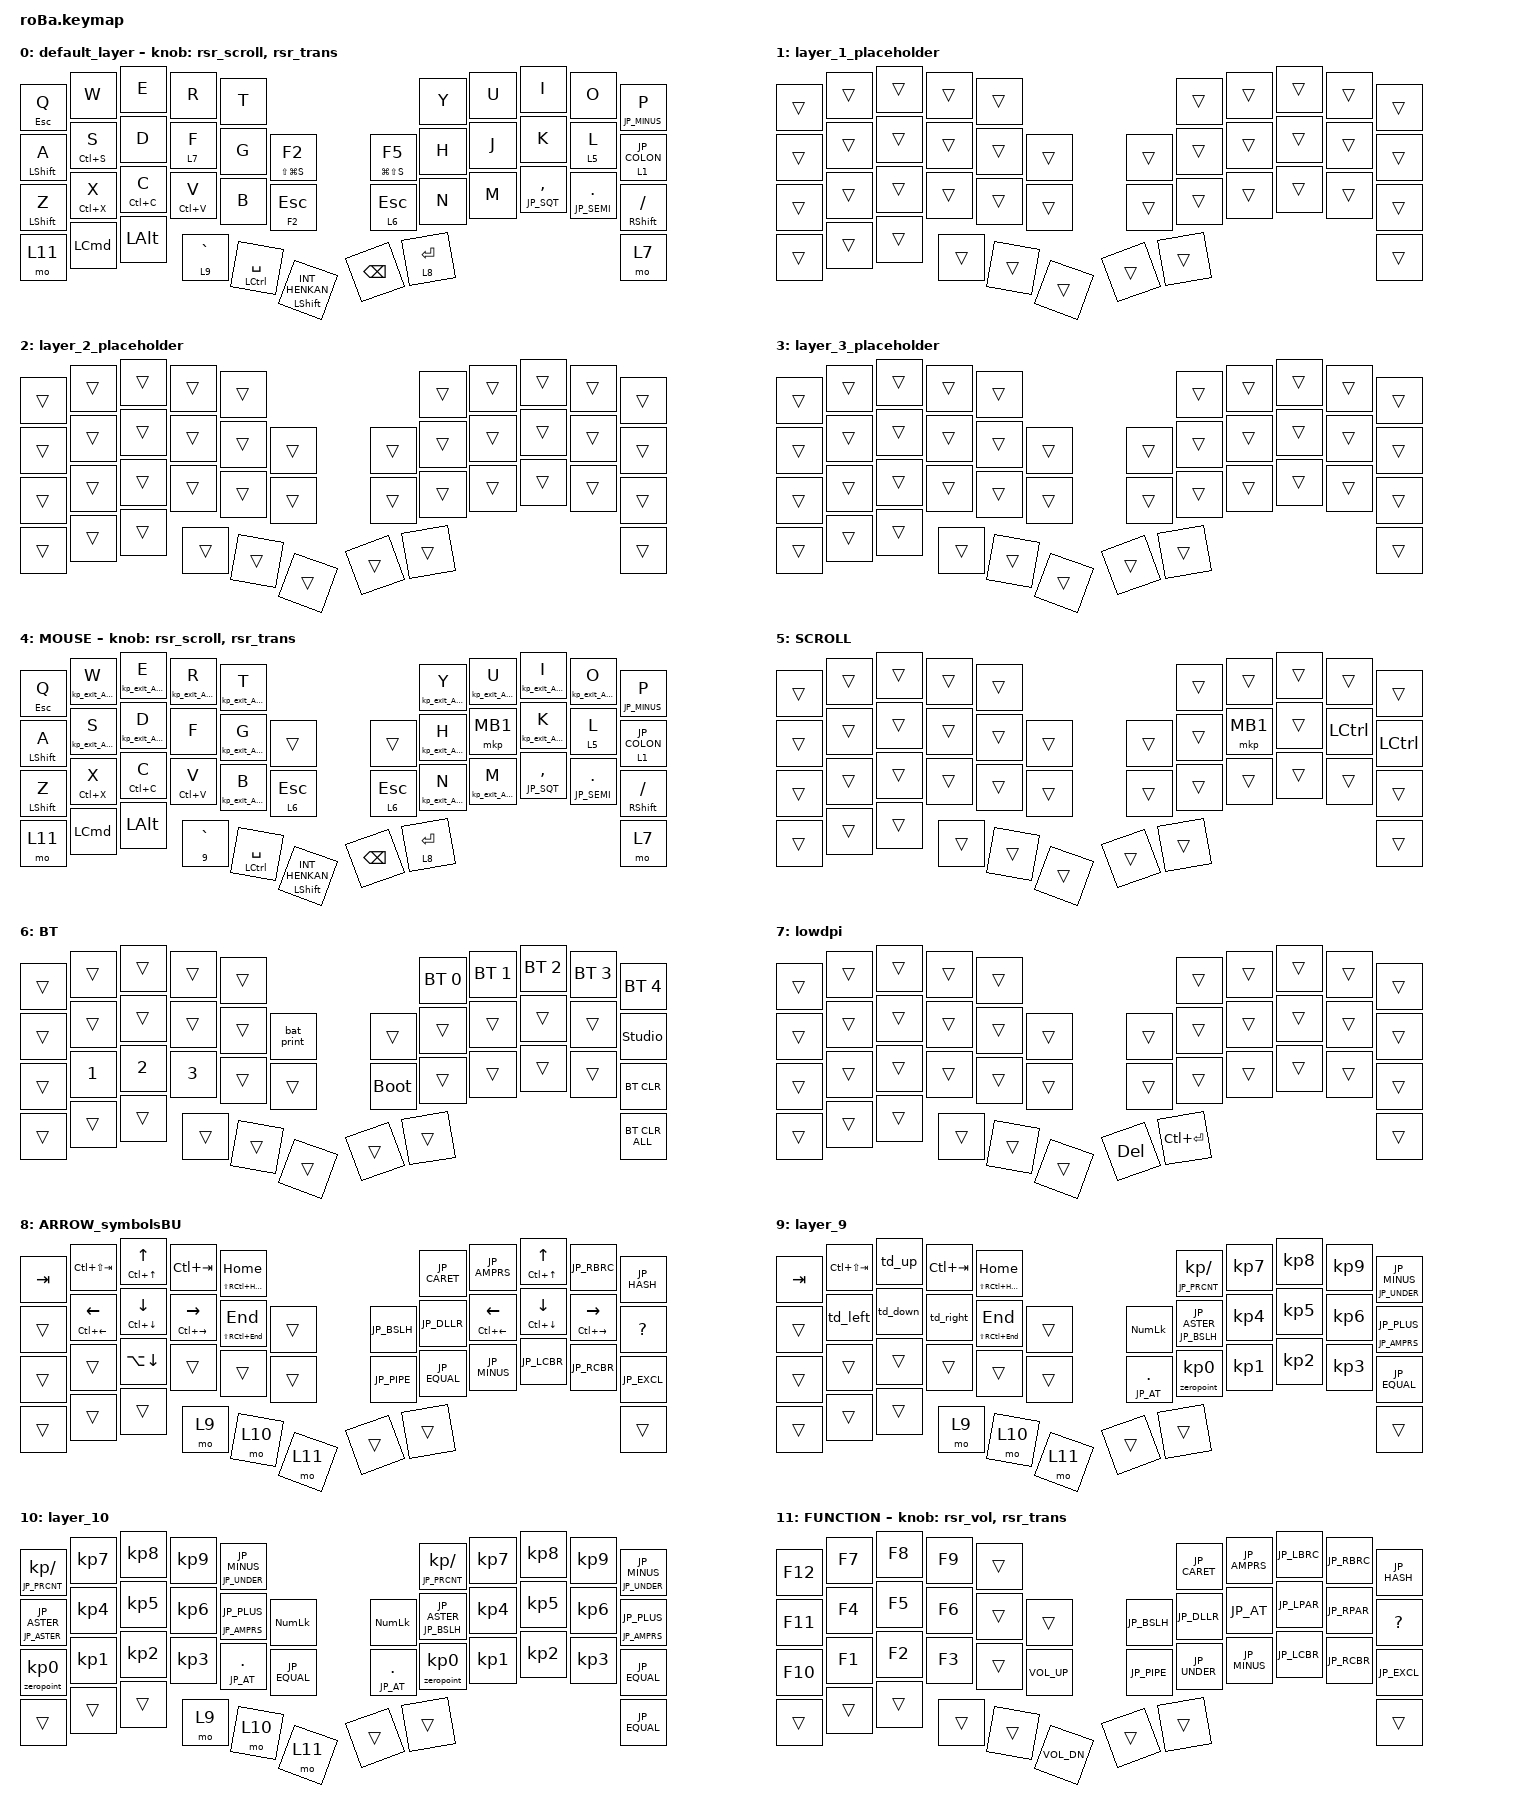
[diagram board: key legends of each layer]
#include <input/processors.dtsi>
#include <dt-bindings/zmk/input_transform.h>
#include <behaviors/bat_print.dtsi>

#define JP_EXCL   (LS(NUMBER_1))
#define JP_DQT    (LS(NUMBER_2))
#define JP_HASH   (LS(NUMBER_3))
#define JP_DLLR   (LS(NUMBER_4))
#define JP_PRCNT  (LS(NUMBER_5))
#define JP_AMPRS  (LS(NUMBER_6))
#define JP_SQT    (LS(NUMBER_7))
#define JP_LPAR   (LS(NUMBER_8))
#define JP_RPAR   (LS(NUMBER_9))
#define JP_EQUAL  (LS(MINUS))
#define JP_MINUS  (MINUS)
#define JP_CARET  (EQUAL)
#define JP_TILDE  (LS(EQUAL))
#define JP_YEN    (INTERNATIONAL_3)
#define JP_PIPE   (LS(INTERNATIONAL_3))
#define JP_AT     (LEFT_BRACKET)
#define JP_GRAVE  (LS(LEFT_BRACKET))
#define JP_LBRC   (RIGHT_BRACKET)
#define JP_LCBR   (LS(RIGHT_BRACKET))
#define JP_RBRC   (NON_US_HASH)
#define JP_RCBR   (LS(NON_US_HASH))
#define JP_SEMI   (SEMICOLON)
#define JP_PLUS   (LS(SEMICOLON))
#define JP_COLON  (SQT)
#define JP_ASTER  (LS(SQT))
#define JP_BSLH   (INTERNATIONAL_1)
#define JP_UNDER  (LS(INTERNATIONAL_1))

#include <behaviors.dtsi>
#include <dt-bindings/zmk/bt.h>
#include <dt-bindings/zmk/keys.h>
#include <dt-bindings/zmk/pointing.h>
#include "gesture/gesture_L2.dtsi"
#include "gesture/gesture_L3.dtsi"
#include "gesture/gesture_L7.dtsi"
#include <behaviors/runtime-sensor-rotate.dtsi>
#include <behaviors/runtime_macro.dtsi>

#define ZMK_POINTING

#undef ZMK_POINTING_DEFAULT_MOVE_VAL

#define ZMK_POINTING_DEFAULT_MOVE_VAL 700

#undef ZMK_POINTING_DEFAULT_SCRL_VAL

#define ZMK_POINTING_DEFAULT_SCRL_VAL 40
#define MOUSE 4
#define SCROLL 5
#define NUM 6

&mt {
    flavor = "balanced";
    quick-tap-ms = <0>;
    tapping-term-ms = <300>;
};

//クリックした後ミリ秒後にAMLが解除

&mkp_input_listener { input-processors = <&zip_temp_layer 4 3000000>; };

//キー入力から一定時間はAMLを発動しない

&zip_temp_layer { require-prior-idle-ms = <200>; };

/ {
    layer_listeners {
        compatible = "zmk,layer-listeners";

        layer_10_gesture {
            layers = <10>;
            bindings = <&mouse_gesture_on>, <&mouse_gesture_off>;
        };

        arrow_layer_gesture {
            layers = <9>;  // ARROW_NUMレイヤー（layer 9）
            bindings = <&mouse_gesture_on>, <&l3_exit>;
        };

        mouse_layer_gesture {
            layers = <4>;  // MOUSEレイヤー（layer 4）
            bindings = <&mouse_gesture_on>, <&mouse_gesture_off>;
        };
    };

    combos {
        compatible = "zmk,combos";

        tab {
            bindings = <&kp TAB>;
            key-positions = <0 1>;
        };

        double_quotation {
            bindings = <&kp JP_DQT>;
            key-positions = <20 21>;
        };

        zero1 {
            bindings = <&kp KP_NUMBER_0>;
            key-positions = <30 31 32>;
            layers = <9 10>;
        };

        mb3 {
            bindings = <&mkp MB3>;
            key-positions = <18 19 20>;
            layers = <4>;
        };

        mb5 {
            bindings = <&mkp MB5>;
            key-positions = <6 7>;
            layers = <4>;
        };

        mb4 {
            bindings = <&mkp MB4>;
            key-positions = <30 31>;
            layers = <4>;
        };

        zero2 {
            bindings = <&kp KP_NUMBER_0>;
            key-positions = <18 19 20>;
            layers = <9 10>;
        };

        zero3 {
            bindings = <&kp KP_NUMBER_0>;
            key-positions = <6 7 8>;
            layers = <9 10>;
        };

        bootloader {
            bindings = <&bootloader>;
            key-positions = <27 28>;
        };

        ctrlAltTAB {
            bindings = <&kp LA(LC(TAB))>;
            key-positions = <20 19 18 21>;
        };

        max {
            bindings = <&kp LG(UP_ARROW)>;
            key-positions = <6 7 8>;
            layers = <0 4>;
        };

        minimum {
            bindings = <&kp LG(DOWN)>;
            key-positions = <30 31 32>;
            layers = <0 4>;
        };

        volmute {
            bindings = <&kp C_MUTE>;
            key-positions = <27 39>;
            layers = <1>;
        };

        colon {
            bindings = <&kp JP_COLON>;
            key-positions = <31 30>;
        };

        exclmtn {
            bindings = <&kp JP_EXCL>;
            key-positions = <32 31>;
        };

        mb2 {
            bindings = <&mkp MB2>;
            key-positions = <18 19>;
            layers = <4>;
        };

        kakko {
            bindings = <&parenthesisdoulequote 0 0>;
            key-positions = <20 19>;
        };

        closewin {
            bindings = <&kp LA(F4)>;
            key-positions = <32 31 30 41>;
        };

        reload {
            bindings = <&kp F5>;
            key-positions = <41 6 7 8>;
        };

        reload2 {
            bindings = <&kp F5>;
            key-positions = <41 18 19 20>;
        };

        question {
            bindings = <&kp QUESTION>;
            key-positions = <32 33>;
        };

        // kakko {
        //     bindings = <&parenthesisdoulequote 0 0>;
        //     key-positions = <20 19>;
        // };
    };

    macros {
        mkp_exit_AML: mkp_exit_AML {
            compatible = "zmk,behavior-macro-one-param";
            #binding-cells = <1>;
            bindings =
                <&macro_press>,
                <&macro_param_1to1 &mkp MACRO_PLACEHOLDER>,
                <&macro_pause_for_release>,
                <&macro_release>,
                <&macro_param_1to1 &mkp MACRO_PLACEHOLDER>,
                <&macro_tap>,
                <&sl 4>;

            label = "MKP_EXIT_AML";
        };

        exit_AML: exit_AML {
            compatible = "zmk,behavior-macro";
            wait-ms = <0>;
            tap-ms = <0>;
            #binding-cells = <0>;
            bindings = <&tog_off 4>;
            label = "exit_AML";
        };

        kp_exit_AML: kp_exit_AML {
            compatible = "zmk,behavior-macro-one-param";
            wait-ms = <0>;
            tap-ms = <0>;
            #binding-cells = <1>;
            bindings = <&macro_param_1to1 &kp MACRO_PLACEHOLDER &exit_AML>;
            label = "KP_exit_AML";
        };

        mo_exit_AML: mo_exit_AML {
            compatible = "zmk,behavior-macro-one-param";
            #binding-cells = <1>;
            bindings =
                <&macro_press>,
                <&macro_param_1to1 &mo MACRO_PLACEHOLDER>,
                <&macro_pause_for_release>,
                <&macro_release>,
                <&macro_param_1to1 &mo MACRO_PLACEHOLDER>,
                <&macro_tap>,
                <&exit_AML>;

            label = "MO_exit_AML";
        };

        parenthesisJP: parenthesisJP {
            compatible = "zmk,behavior-macro";
            #binding-cells = <0>;
            bindings = <&kp JP_LPAR &kp JP_RPAR &kp LEFT_ARROW>;
            label = "PARENTHESISJP";
        };

        doubledoublequote: doubledoublecomma {
            compatible = "zmk,behavior-macro";
            #binding-cells = <0>;
            bindings = <&kp JP_DQT &kp JP_DQT &kp LEFT_ARROW>;
            label = "DOUBLEDOUBLECOMMA";
        };

        zeropoint: repoint {
            compatible = "zmk,behavior-macro";
            #binding-cells = <0>;
            bindings = <&kp N0 &kp PERIOD>;
            label = "REPOINT";
        };
    };

    alt_tab: alt_tab {
        compatible = "zmk,behavior-macro";
        #binding-cells = <0>;
        bindings = <&macro_press>, <&kp LALT>, <&macro_tap>, <&kp TAB>;
    };

    alt_shift_tab: alt_shift_tab {
        compatible = "zmk,behavior-macro";
        #binding-cells = <0>;
        bindings = <&macro_press>, <&kp LALT>, <&macro_tap>, <&kp LS(TAB)>;
    };

    release_alt: release_alt {
        compatible = "zmk,behavior-macro";
        #binding-cells = <0>;
        bindings = <&macro_release>, <&kp LALT>;
    };

    l3_exit: l3_exit {
        compatible = "zmk,behavior-macro";
        #binding-cells = <0>;
        bindings = <&mouse_gesture_off &release_alt>;
    };

    behaviors {
        rsr_scroll: rsr_scroll {
            compatible = "zmk,behavior-runtime-sensor-rotate";
            #sensor-binding-cells = <0>;
            tap-ms = <20>;
            cw-binding = <&msc SCRL_DOWN>;
            ccw-binding = <&msc SCRL_UP>;
        };

        rsr_vol: rsr_vol {
            compatible = "zmk,behavior-runtime-sensor-rotate";
            #sensor-binding-cells = <0>;
            tap-ms = <20>;
            cw-binding = <&kp C_VOLUME_DOWN>;
            ccw-binding = <&kp C_VOLUME_UP>;
        };
        
        rsr_trans: rsr_trans {
            compatible = "zmk,behavior-runtime-sensor-rotate";
            #sensor-binding-cells = <0>;
        };

        scroll_up_down: behavior_sensor_rotate_mouse_wheel_up_down {
            compatible = "zmk,behavior-sensor-rotate";
            #sensor-binding-cells = <0>;
            bindings = <&msc SCRL_DOWN>, <&msc SCRL_UP>;

            // 追加: スクロールのタップ時間を設定 (20ms)

            tap-ms = <20>;
        };

        rot_tab_macro: rot_tab_macro {
            compatible = "zmk,behavior-sensor-rotate";
            #sensor-binding-cells = <0>;
            bindings = <&alt_tab>, <&alt_shift_tab>;

            // これにより、回した瞬間にAltがロックされ、
            // 物理的にレイヤーキーを離すとAltが解除される仕組みが必要です
        };

        tog_off: toggle_layer_off {
            compatible = "zmk,behavior-toggle-layer";
            #binding-cells = <1>;
            display-name = "Toggle Layer Off";
            toggle-mode = "off";
        };

        mt_exit_AML_on_tap: mt_exit_AML_on_tap {
            compatible = "zmk,behavior-hold-tap";
            label = "MT_exit_AML_ON_TAP";
            bindings = <&kp>, <&kp_exit_AML>;

            #binding-cells = <2>;
            tapping-term-ms = <200>;
            flavor = "balanced";
            quick-tap-ms = <0>;
        };

        lt_exit_AML: lt_exit_AML {
            compatible = "zmk,behavior-hold-tap";
            label = "LT_exit_AML";
            bindings = <&mo_exit_AML>, <&kp_exit_AML>;

            #binding-cells = <2>;
            tapping-term-ms = <200>;
            quick-tap-ms = <200>;
            flavor = "balanced";
        };

        lt_exit_AML_on_hold: lt_exit_AML_on_hold {
            compatible = "zmk,behavior-hold-tap";
            label = "LT_exit_AML_ON_HOLD";
            bindings = <&mo_exit_AML>, <&kp>;

            #binding-cells = <2>;
            tapping-term-ms = <200>;
            quick-tap-ms = <200>;
            flavor = "balanced";
        };

        // JとK専用の特別な判定

        jk_click: jk_click {
            compatible = "zmk,behavior-hold-tap";
            label = "JK_CLICK";
            #binding-cells = <2>;

            // 1. 判定時間を少し短くして、文字入力への復帰を早める

            tapping-term-ms = <150>;

            // 2. ダブルクリックを可能にする（超重要）
            // 前回クリックしてから150ms以内に叩けば、判定を飛ばして即クリックする

            quick-tap-ms = <150>;

            // 3. flavor を「hold-preferred」に変更
            // これにより、押した瞬間に「他のキーが押されれば」即クリック、
            // 何もなくても150ms経てば即クリックになります。

            flavor = "hold-preferred";
            bindings = <&mkp>, <&kp_exit_AML>;
        };

        lt_exit_l4: lt_exit_l4 {
            compatible = "zmk,behavior-hold-tap";
            label = "LT_EXIT_L4";
            #binding-cells = <2>;
            tapping-term-ms = <100>;
            flavor = "hold-preferred";

            // カンマなし。&mo と &tog_off を並べるだけ。

            bindings = <&mo>, <&tog_off>;
        };

        // A/Z用シフト: 素早い打鍵での誤判定を防ぐ

        hold_pref_shift: hold_pref_shift {
            compatible = "zmk,behavior-hold-tap";
            label = "HOLD_PREF_SHIFT";
            #binding-cells = <2>;
            tapping-term-ms = <300>;
            flavor = "tap-preferred";
            quick-tap-ms = <200>;
            bindings = <&kp>, <&kp>;
        };

        mtzeropoint: mtzeropoint {
            compatible = "zmk,behavior-hold-tap";
            label = "MTZEROPOINT";
            #binding-cells = <2>;
            tapping-term-ms = <400>;
            flavor = "balanced";
            quick-tap-ms = <200>;
            bindings = <&zeropoint>, <&kp>;
        };

        parenthesisdoulequote: parenthesisdoulequote {
            compatible = "zmk,behavior-hold-tap";
            label = "PARENTHESISDOULEQUOTE";
            #binding-cells = <2>;
            tapping-term-ms = <400>;
            flavor = "balanced";
            quick-tap-ms = <200>;
            bindings = <&doubledoublequote>, <&parenthesisJP>;
        };

        /* 1回目のタップ用: 単押し=そのまま / 長押し=Ctrl+キー */

        ht_arrow_1: ht_arrow_1 {
            compatible = "zmk,behavior-hold-tap";
            label = "HT_ARROW_1";
            #binding-cells = <2>;
            flavor = "tap-preferred";
            tapping-term-ms = <200>;
            quick-tap-ms = <150>;
            bindings = <&kp>, <&kp>;
        };

        /* 2回目のタップ用: 単押し=なし / 長押し=Ctrl+Shift+キー */

        ht_arrow_2: ht_arrow_2 {
            compatible = "zmk,behavior-hold-tap";
            label = "HT_ARROW_2";
            #binding-cells = <2>;
            flavor = "tap-preferred";
            tapping-term-ms = <200>;
            quick-tap-ms = <150>;
            bindings = <&kp>, <&kp>;
        };

        td_up: td_up {
            compatible = "zmk,behavior-tap-dance";
            label = "TD_UP";
            #binding-cells = <0>;
            tapping-term-ms = <150>;
            bindings =
                <&ht_arrow_1 LC(UP_ARROW) UP_ARROW>,
                <&ht_arrow_2 LC(LS(UP_ARROW)) UP_ARROW>;
        };

        td_down: td_down {
            compatible = "zmk,behavior-tap-dance";
            label = "TD_DOWN";
            #binding-cells = <0>;
            tapping-term-ms = <150>;
            bindings =
                <&ht_arrow_1 LC(DOWN_ARROW) DOWN_ARROW>,
                <&ht_arrow_2 LC(LS(DOWN_ARROW)) DOWN_ARROW>;
        };

        td_left: td_left {
            compatible = "zmk,behavior-tap-dance";
            label = "TD_LEFT";
            #binding-cells = <0>;
            tapping-term-ms = <150>;
            bindings =
                <&ht_arrow_1 LC(LEFT_ARROW) LEFT_ARROW>,
                <&ht_arrow_2 LC(LS(LEFT_ARROW)) LEFT_ARROW>;
        };

        td_right: td_right {
            compatible = "zmk,behavior-tap-dance";
            label = "TD_RIGHT";
            #binding-cells = <0>;
            tapping-term-ms = <150>;
            bindings =
                <&ht_arrow_1 LC(RIGHT_ARROW) RIGHT_ARROW>,
                <&ht_arrow_2 LC(LS(RIGHT_ARROW)) RIGHT_ARROW>;
        };

        ht_layer_none: ht_layer_none {
            compatible = "zmk,behavior-hold-tap";
            label = "HT_LAYER_NONE";
            #binding-cells = <2>;
            flavor = "hold-preferred";
            tapping-term-ms = <200>;
            bindings = <&mo>, <&none>;
        };

        ht_key_none: ht_key_none {
            compatible = "zmk,behavior-hold-tap";
            label = "HT_KEY_NONE";
            #binding-cells = <2>;
            flavor = "hold-preferred";
            tapping-term-ms = <200>;
            bindings = <&kp>, <&none>;
        };

        ht_tp_qmark: ht_tp_qmark {
            compatible = "zmk,behavior-hold-tap";
            label = "HT_TP_QMARK";
            #binding-cells = <2>;
            flavor = "tap-preferred";
            tapping-term-ms = <200>;
            bindings = <&kp>, <&kp>;
        };

        td_mo7: td_mo7 {
            compatible = "zmk,behavior-tap-dance";
            label = "TD_MO7";
            #binding-cells = <0>;
            tapping-term-ms = <150>;
            bindings = <&ht_layer_none 7 0>, <&ht_key_none RIGHT_CONTROL 0>;
        };

        td_qmark_l0: td_qmark_l0 {
            compatible = "zmk,behavior-tap-dance";
            label = "TD_QMARK_L0";
            #binding-cells = <0>;
            tapping-term-ms = <200>;
            bindings =
                <&ht_tp_qmark RIGHT_SHIFT SLASH>,
                <&ht_tp_qmark RIGHT_SHIFT JP_EXCL>;
        };

        td_qmark_l4: td_qmark_l4 {
            compatible = "zmk,behavior-tap-dance";
            label = "TD_QMARK_L4";
            #binding-cells = <0>;
            tapping-term-ms = <200>;
            bindings =
                <&mt_exit_AML_on_tap RIGHT_SHIFT SLASH>,
                <&mt_exit_AML_on_tap RIGHT_SHIFT JP_EXCL>;
        };
    };

    keymap {
        compatible = "zmk,keymap";

        default_layer {
            bindings = <
&mt ESCAPE Q                   &kp W                     &kp E         &kp R        &kp T                                                                                    &kp Y        &kp U  &kp I             &kp O            &mt JP_MINUS P
&hold_pref_shift LEFT_SHIFT A  &hold_pref_shift LC(S) S  &kp D         &lt 7 F      &kp G                   &mt LS(LG(S)) F2                               &mt LG(LS(S)) F5  &kp H        &kp J  &kp K             &lt 5 L          &lt 1 JP_COLON
&hold_pref_shift LEFT_SHIFT Z  &mt LC(X) X               &mt LC(C) C   &mt LC(V) V  &kp B                   &mt F2 ESCAPE                                  &lt 6 ESC         &kp N        &kp M  &mt JP_SQT COMMA  &mt JP_SEMI DOT  &hold_pref_shift RIGHT_SHIFT SLASH
&mo 11                         &kp LEFT_COMMAND          &kp LEFT_ALT  &lt 9 GRAVE  &mt LEFT_CONTROL SPACE  &mt_exit_AML_on_tap LEFT_SHIFT INT_HENKAN      &kp BACKSPACE     &lt 8 ENTER                                            &mo 7
            >;

            sensor-bindings = <&rsr_scroll &rsr_trans>;
        };

        layer_1_placeholder {
            bindings = <
&trans  &trans  &trans  &trans  &trans                      &trans  &trans  &trans  &trans  &trans
&trans  &trans  &trans  &trans  &trans  &trans      &trans  &trans  &trans  &trans  &trans  &trans
&trans  &trans  &trans  &trans  &trans  &trans      &trans  &trans  &trans  &trans  &trans  &trans
&trans  &trans  &trans  &trans  &trans  &trans      &trans  &trans                          &trans
            >;
        };

        // Layer 2: 数字テンキー（Layer 10の後継が使用中のため透明化）

        layer_2_placeholder {
            bindings = <
&trans  &trans  &trans  &trans  &trans                      &trans  &trans  &trans  &trans  &trans
&trans  &trans  &trans  &trans  &trans  &trans      &trans  &trans  &trans  &trans  &trans  &trans
&trans  &trans  &trans  &trans  &trans  &trans      &trans  &trans  &trans  &trans  &trans  &trans
&trans  &trans  &trans  &trans  &trans  &trans      &trans  &trans                          &trans
            >;
        };

        // Layer 3: 矢印+数字（Layer 9の後継が使用中のため透明化）

        layer_3_placeholder {
            bindings = <
&trans  &trans  &trans  &trans  &trans                      &trans  &trans  &trans  &trans  &trans
&trans  &trans  &trans  &trans  &trans  &trans      &trans  &trans  &trans  &trans  &trans  &trans
&trans  &trans  &trans  &trans  &trans  &trans      &trans  &trans  &trans  &trans  &trans  &trans
&trans  &trans  &trans  &trans  &trans  &trans      &trans  &trans                          &trans
            >;
        };

        MOUSE {
            bindings = <
&mt_exit_AML_on_tap ESCAPE Q  &kp_exit_AML W               &kp_exit_AML E               &kp_exit_AML R               &kp_exit_AML T                                                                                        &kp_exit_AML Y  &kp_exit_AML U  &kp_exit_AML I                    &kp_exit_AML O                   &mt_exit_AML_on_tap JP_MINUS P
&mt_exit_AML_on_tap LSHIFT A  &kp_exit_AML S               &kp_exit_AML D               &kp F                        &kp_exit_AML G                          &trans                                         &trans         &kp_exit_AML H  &mkp MB1        &kp_exit_AML K                    &lt 5 L                          &lt 1 JP_COLON
&mt_exit_AML_on_tap LSHIFT Z  &mt_exit_AML_on_tap LC(X) X  &mt_exit_AML_on_tap LC(C) C  &mt_exit_AML_on_tap LC(V) V  &kp_exit_AML B                          &lt 6 ESCAPE                                   &lt 6 ESC      &kp_exit_AML N  &kp_exit_AML M  &mt_exit_AML_on_tap JP_SQT COMMA  &mt_exit_AML_on_tap JP_SEMI DOT  &mt_exit_AML_on_tap RIGHT_SHIFT SLASH
&mo 11                        &kp LEFT_COMMAND             &kp LEFT_ALT                 &lt_exit_AML 9 GRAVE         &mt_exit_AML_on_tap LEFT_CONTROL SPACE  &mt_exit_AML_on_tap LEFT_SHIFT INT_HENKAN      &kp BACKSPACE  &lt 8 ENTER                                                                                        &mo 7
            >;

            sensor-bindings = <&rsr_scroll &rsr_trans>;
        };

        SCROLL {
            bindings = <
&trans  &trans  &trans  &trans  &trans                      &trans  &trans    &trans  &trans            &trans
&trans  &trans  &trans  &trans  &trans  &trans      &trans  &trans  &mkp MB1  &trans  &kp LEFT_CONTROL  &kp LEFT_CONTROL
&trans  &trans  &trans  &trans  &trans  &trans      &trans  &trans  &trans    &trans  &trans            &trans
&trans  &trans  &trans  &trans  &trans  &trans      &trans  &trans                                      &trans
            >;
        };

        BT {
            bindings = <
&trans  &trans        &trans        &trans        &trans                               &bt BT_SEL 0  &bt BT_SEL 1  &bt BT_SEL 2  &bt BT_SEL 3  &bt BT_SEL 4
&trans  &trans        &trans        &trans        &trans  &bat_print      &trans       &trans        &trans        &trans        &trans        &studio_unlock
&trans  &kp NUMBER_1  &kp NUMBER_2  &kp NUMBER_3  &trans  &trans          &bootloader  &trans        &trans        &trans        &trans        &bt BT_CLR
&trans  &trans        &trans        &trans        &trans  &trans          &trans       &trans                                                  &bt BT_CLR_ALL
            >;
        };

        lowdpi {
            bindings = <
&trans  &trans  &trans  &trans  &trans                          &trans         &trans  &trans  &trans  &trans
&trans  &trans  &trans  &trans  &trans  &trans      &trans      &trans         &trans  &trans  &trans  &trans
&trans  &trans  &trans  &trans  &trans  &trans      &trans      &trans         &trans  &trans  &trans  &trans
&trans  &trans  &trans  &trans  &trans  &trans      &kp DELETE  &kp LC(ENTER)                          &trans
            >;
        };

        ARROW_symbolsBU {
            bindings = <
&kp TAB  &kp LC(LS(TAB))                &mt LC(UP_ARROW) UP_ARROW      &kp LC(TAB)                      &mt LS(RC(HOME)) HOME                           &kp JP_CARET  &kp JP_AMPRS                   &mt LC(UP_ARROW) UP_ARROW      &kp JP_RBRC                      &kp JP_HASH
&trans   &mt LC(LEFT_ARROW) LEFT_ARROW  &mt LC(DOWN_ARROW) DOWN_ARROW  &mt LC(RIGHT_ARROW) RIGHT_ARROW  &mt LS(RC(END)) END    &trans      &kp JP_BSLH  &kp JP_DLLR   &mt LC(LEFT_ARROW) LEFT_ARROW  &mt LC(DOWN_ARROW) DOWN_ARROW  &mt LC(RIGHT_ARROW) RIGHT_ARROW  &kp QUESTION
&trans   &trans                         &kp LA(DOWN_ARROW)             &trans                           &trans                 &trans      &kp JP_PIPE  &kp JP_EQUAL  &kp JP_MINUS                   &kp JP_LCBR                    &kp JP_RCBR                      &kp JP_EXCL
&trans   &trans                         &trans                         &mo 9                            &mo 10                 &mo 11      &trans       &trans                                                                                                       &trans
            >;
        };

        layer_9 {
            bindings = <
&kp TAB  &kp LC(LS(TAB))  &td_up    &kp LC(TAB)  &mt LS(RC(HOME)) HOME                                &mt JP_PRCNT KP_SLASH  &kp KP_NUMBER_7  &kp KP_NUMBER_8  &kp KP_NUMBER_9  &mt JP_UNDER JP_MINUS
&trans   &td_left         &td_down  &td_right    &mt LS(RC(END)) END    &trans      &kp KP_NUMLOCK    &mt JP_BSLH JP_ASTER   &kp KP_NUMBER_4  &kp KP_NUMBER_5  &kp KP_NUMBER_6  &mt JP_AMPRS JP_PLUS
&trans   &trans           &trans    &trans       &trans                 &trans      &mt JP_AT PERIOD  &mtzeropoint 0 KP_N0   &kp KP_NUMBER_1  &kp KP_NUMBER_2  &kp KP_NUMBER_3  &kp JP_EQUAL
&trans   &trans           &trans    &mo 9        &mo 10                 &mo 11      &trans            &trans                                                                    &trans
            >;
        };

        layer_10 {
            bindings = <
&mt JP_PRCNT KP_SLASH       &kp KP_NUMBER_7  &kp KP_NUMBER_8  &kp KP_NUMBER_9  &mt JP_UNDER JP_MINUS                                      &mt JP_PRCNT KP_SLASH       &kp KP_N7        &kp KP_N8  &kp KP_N9  &mt JP_UNDER JP_MINUS
&mt JP_ASTER JP_ASTER       &kp KP_NUMBER_4  &kp KP_NUMBER_5  &kp KP_NUMBER_6  &mt JP_AMPRS JP_PLUS   &kp KP_NLCK       &kp KP_NUMLOCK    &mt JP_BSLH JP_ASTER        &kp KP_NUMBER_4  &kp KP_N5  &kp KP_N6  &mt JP_AMPRS JP_PLUS
&mtzeropoint 0 KP_NUMBER_0  &kp KP_NUMBER_1  &kp KP_NUMBER_2  &kp KP_NUMBER_3  &mt JP_AT PERIOD       &kp JP_EQUAL      &mt JP_AT PERIOD  &mtzeropoint 0 KP_NUMBER_0  &kp KP_NUMBER_1  &kp KP_N2  &kp KP_N3  &kp JP_EQUAL
&trans                      &trans           &trans           &mo 9            &mo 10                 &mo 11            &trans            &trans                                                             &kp JP_EQUAL
            >;
        };

        FUNCTION {
            bindings = <
&kp F12  &kp F7  &kp F8  &kp F9  &trans                                 &kp JP_CARET  &kp JP_AMPRS  &kp JP_LBRC  &kp JP_RBRC  &kp JP_HASH
&kp F11  &kp F4  &kp F5  &kp F6  &trans  &trans            &kp JP_BSLH  &kp JP_DLLR   &kp JP_AT     &kp JP_LPAR  &kp JP_RPAR  &kp QUESTION
&kp F10  &kp F1  &kp F2  &kp F3  &trans  &kp C_VOL_UP      &kp JP_PIPE  &kp JP_UNDER  &kp JP_MINUS  &kp JP_LCBR  &kp JP_RCBR  &kp JP_EXCL
&trans   &trans  &trans  &trans  &trans  &kp C_VOL_DN      &trans       &trans                                                &trans
            >;

            sensor-bindings = <&rsr_vol &rsr_trans>;
        };
    };
};

/ {
    trackpad_accel: trackpad_accel {
        compatible = "zmk,input-processor-accel";
        #input-processor-cells = <0>;
        input-type = <2>; /* INPUT_EV_REL */
        track-remainders;
        min-factor = <500>;
        max-factor = <1000>;
        speed-threshold = <600>;
        speed-max = <3000>;
        acceleration-exponent = <2>;
    };

    trackball_accel: trackball_accel {
        compatible = "zmk,input-processor-accel";
        #input-processor-cells = <0>;
        input-type = <2>; /* INPUT_EV_REL */
        track-remainders;
        min-factor = <500>;
        max-factor = <2000>;
        speed-threshold = <600>;
        speed-max = <3000>;
        acceleration-exponent = <2>;
    };
};


